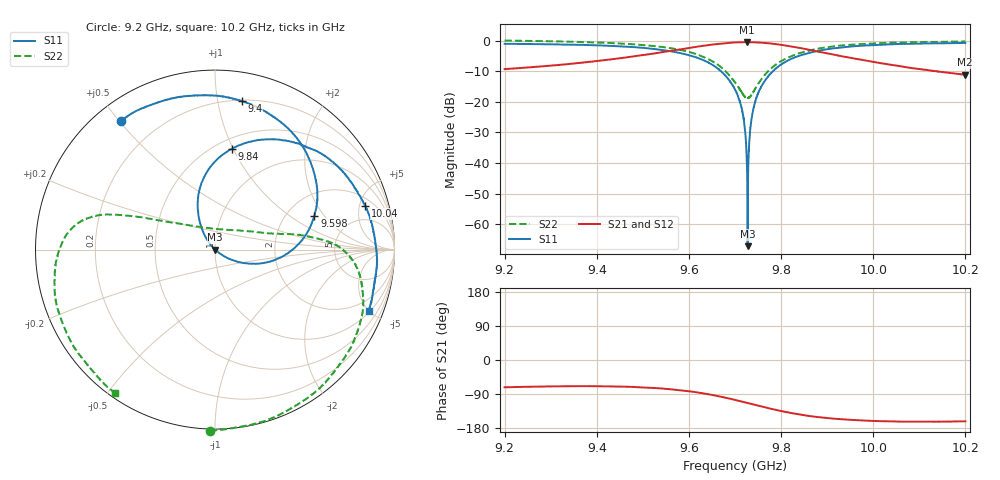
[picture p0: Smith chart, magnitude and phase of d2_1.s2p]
!Agilent Technologies,N5242A,MY51221714,A.09.90.19
!Agilent N5242A: A.09.90.19
!Date: Friday, February 02, 2024 13:09:48
!Correction: S11(Full 2 Port(1,2))
!S21(Full 2 Port(1,2))
!S12(Full 2 Port(1,2))
!S22(Full 2 Port(1,2))
!S2P File: Measurements: S11, S21, S12, S22:
# Hz S  dB  R 50
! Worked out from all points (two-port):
!   16001 points, 9.2 GHz to 10.2 GHz, reference 50 ohm
!   highest |S21| = -0.47 dB at 9.726 GHz (marker M1); lowest = -11.1 dB at 10.2 GHz (marker M2)
!   |S21| within 3 dB of the highest: 9.553372 GHz to 9.553389 GHz (17.35 kHz wide, 0.000182 % of centre); 9.554 GHz to 9.877 GHz (323.8 MHz wide, 3.33 % of centre)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
!   lowest |S11| = -67.2 dB at 9.727 GHz (marker M3), VSWR 1.00, Z = 50 + j0.0202 ohm
!   |S11| at or under -10 dB: 9.67 GHz to 9.782 GHz (112.3 MHz wide, 1.15 % of centre)
!   |S22| runs from -18.8 to 0.1 dB; largest |S21 - S12| = 0.023
!   S11 on the Smith chart (normalised r, x): 9.2 GHz: 0.07, +0.50; 9.4 GHz: 0.21, +1.18; 9.598 GHz: 2.80, +1.62; 9.84 GHz: 0.59, +0.99; 10.04 GHz: 2.79, +5.68; 10.2 GHz: 1.12, -4.98
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9.2e9  -1.03 126.3  -9.28 -72.0  -9.26 -73.1  0.08 -91.5
9.366688e9  -1.36 88.0  -7.19 -69.1  -7.17 -70.2  -0.43 -46.2
9.399625e9  -1.51 79.8  -6.65 -69.2  -6.63 -70.3  -0.57 -37.8
9.533375e9  -2.88 41.8  -3.96 -74.6  -3.93 -75.6  -1.89 -8.0
9.597625e9  -4.64 18.9  -2.45 -82.1  -2.42 -83.2  -3.55 2.8
9.659312e9  -8.73 -7.0  -1.12 -94.3  -1.10 -95.4  -7.48 11.8
9.7e9  -15.96 -26.5  -0.57 -105.4  -0.55 -106.6  -13.60 29.2
9.716625e9  -23.68 -35.7  -0.50 -110.3  -0.47 -111.5  -17.40 54.3
9.726188e9  -42.21 -38.8  -0.47 -113.2  -0.45 -114.4  -18.74 81.9
9.727438e9  -67.20 27.5  -0.49 -113.6  -0.45 -114.8  -18.72 86.2
9.73075e9  -33.69 130.8  -0.48 -114.6  -0.46 -115.8  -18.54 97.1
9.734312e9  -27.40 130.5  -0.50 -115.7  -0.46 -116.9  -17.97 107.8
9.73875e9  -23.12 128.9  -0.51 -117.1  -0.48 -118.3  -17.03 118.8
9.755438e9  -15.47 119.7  -0.64 -122.0  -0.60 -123.3  -12.94 141.2
9.790312e9  -8.89 103.0  -1.17 -132.1  -1.15 -133.3  -7.63 155.1
9.840438e9  -4.88 80.5  -2.36 -143.7  -2.36 -144.9  -4.04 161.9
9.866688e9  -3.76 69.6  -3.14 -148.7  -3.12 -149.8  -3.01 164.9
9.941062e9  -2.03 43.5  -5.33 -157.1  -5.32 -158.3  -1.44 176.5
1.003338e10  -1.21 17.0  -7.75 -161.8  -7.74 -163.0  -0.68 -164.9
1.003606e10  -1.19 16.2  -7.81 -161.9  -7.79 -163.1  -0.66 -164.3
1.019981e10  -0.72 -21.6  -11.15 -161.7  -11.12 -163.0  -0.24 -125.1
1.02e10  -0.72 -21.7  -11.14 -161.7  -11.12 -162.9  -0.24 -125.0
